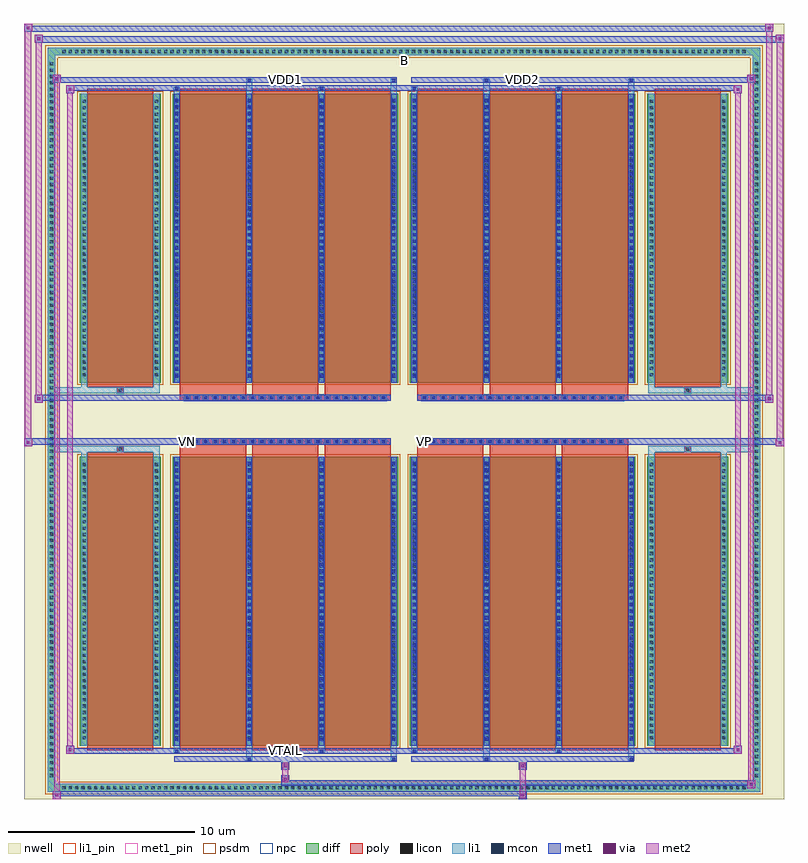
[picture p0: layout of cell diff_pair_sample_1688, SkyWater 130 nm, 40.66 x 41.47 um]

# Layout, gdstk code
import gdstk
lib = gdstk.Library(unit=1e-6, precision=5e-09)
def R(c, l, rs):  # rectangles x0, y0, x1, y1
    for r in rs: c.add(gdstk.rectangle(r[:2], r[2:], *l))
def A(c, l, x, y, w, h, nx, ny, dx, dy):  # array of equal rectangles
    R(c, l, [(x+i*dx, y+j*dy, x+i*dx+w, y+j*dy+h) for i in range(nx) for j in range(ny)])
def P(c, l, *ps):  # polygons
    for p in ps: c.add(gdstk.Polygon(p, *l))
nwell = (64, 20)
diff = (65, 20)
poly = (66, 20)
licon = (66, 44)
li1_pin = (67, 16)
li1 = (67, 20)
mcon = (67, 44)
met1_pin = (68, 16)
met1 = (68, 20)
via = (68, 44)
met2 = (69, 20)
psdm = (94, 20)
npc = (95, 20)

diff_pair_sample_1688 = lib.new_cell('diff_pair_sample_1688')
R(diff_pair_sample_1688, nwell, [(-20.33,-20.3,20.33,21.17), (-17.65,-18.49,-0.01,-0.805), (0.01,-18.49,17.65,-0.805), (-17.65,0.805,-0.01,18.49), (0.01,0.805,17.65,18.49)])
A(diff_pair_sample_1688, diff, -18.395, -19.9, 0.41, 0.41, 108, 2, 0.34, 39.39)
A(diff_pair_sample_1688, diff, -19.06, -19.245, 0.41, 0.41, 1, 113, 0, 0.34)
A(diff_pair_sample_1688, diff, 18.65, -19.245, 0.41, 0.41, 1, 113, 0, 0.34)
R(diff_pair_sample_1688, diff, [(-18.395,-19.9,18.395,-19.49), (-19.06,-19.245,-18.65,19.245), (18.65,-19.245,19.06,19.245), (-17.34,-17.445,-13.02,-1.985), (-12.38,-17.445,-0.32,-1.985), (0.32,-17.445,12.38,-1.985), (13.02,-17.445,17.34,-1.985), (-17.34,1.985,-13.02,17.445), (-12.38,1.985,-0.32,17.445), (0.32,1.985,12.38,17.445), (13.02,1.985,17.34,17.445), (-18.395,19.49,18.395,19.9)])
P(diff_pair_sample_1688, diff, [(19.06,19.9),(-19.06,19.9),(-19.06,-19.49),(-18.65,-19.49),(-18.65,19.49),(18.65,19.49),(18.65,-19.49),(-18.65,-19.49),(-19.06,-19.49),(-19.06,-19.9),(19.06,-19.9)])
A(diff_pair_sample_1688, poly, -11.99, -17.695, 3.54, 15.96, 3, 2, 3.87, 19.43)
A(diff_pair_sample_1688, poly, 0.71, -17.695, 3.54, 15.96, 3, 2, 3.87, 19.43)
A(diff_pair_sample_1688, poly, -11.99, -1.735, 3.54, 0.4, 3, 2, 3.87, 3.07)
A(diff_pair_sample_1688, poly, 0.71, -1.735, 3.54, 0.4, 3, 2, 3.87, 3.07)
A(diff_pair_sample_1688, poly, -11.765, -1.335, 0.33, 0.33, 22, 2, 0.5, 2.34)
A(diff_pair_sample_1688, poly, 0.935, -1.335, 0.33, 0.33, 22, 2, 0.5, 2.34)
R(diff_pair_sample_1688, poly, [(-16.95,-17.695,-13.41,-1.735), (13.41,-17.695,16.95,-1.735), (-15.345,-1.735,-15.015,-1.405), (-15.345,-1.735,-15.015,-1.405), (15.015,-1.735,15.345,-1.405), (15.015,-1.735,15.345,-1.405), (-11.99,-1.335,-0.71,-1.005), (0.71,-1.335,11.99,-1.005), (-11.99,1.005,-0.71,1.335), (0.71,1.005,11.99,1.335), (-15.345,1.405,-15.015,1.735), (-15.345,1.405,-15.015,1.735), (15.015,1.405,15.345,1.735), (15.015,1.405,15.345,1.735), (-16.95,1.735,-13.41,17.695), (13.41,1.735,16.95,17.695)])
A(diff_pair_sample_1688, licon, -18.275, -19.78, 0.17, 0.17, 108, 2, 0.34, 39.39)
A(diff_pair_sample_1688, licon, -18.94, -19.125, 0.17, 0.17, 1, 113, 0, 0.34)
A(diff_pair_sample_1688, licon, 18.77, -19.125, 0.17, 0.17, 1, 113, 0, 0.34)
A(diff_pair_sample_1688, licon, -17.2, -17.11, 0.17, 0.17, 1, 44, 0, 0.34)
A(diff_pair_sample_1688, licon, -13.33, -17.11, 0.17, 0.17, 1, 44, 0, 0.34)
A(diff_pair_sample_1688, licon, -12.24, -17.11, 0.17, 0.17, 4, 44, 3.87, 0.34)
A(diff_pair_sample_1688, licon, 0.46, -17.11, 0.17, 0.17, 4, 44, 3.87, 0.34)
A(diff_pair_sample_1688, licon, 13.16, -17.11, 0.17, 0.17, 1, 44, 0, 0.34)
A(diff_pair_sample_1688, licon, 17.03, -17.11, 0.17, 0.17, 1, 44, 0, 0.34)
A(diff_pair_sample_1688, licon, -11.685, -1.255, 0.17, 0.17, 22, 2, 0.5, 2.34)
A(diff_pair_sample_1688, licon, 1.015, -1.255, 0.17, 0.17, 22, 2, 0.5, 2.34)
A(diff_pair_sample_1688, licon, -17.2, 2.32, 0.17, 0.17, 1, 44, 0, 0.34)
A(diff_pair_sample_1688, licon, -13.33, 2.32, 0.17, 0.17, 1, 44, 0, 0.34)
A(diff_pair_sample_1688, licon, -12.24, 2.32, 0.17, 0.17, 4, 44, 3.87, 0.34)
A(diff_pair_sample_1688, licon, 0.46, 2.32, 0.17, 0.17, 4, 44, 3.87, 0.34)
A(diff_pair_sample_1688, licon, 13.16, 2.32, 0.17, 0.17, 1, 44, 0, 0.34)
A(diff_pair_sample_1688, licon, 17.03, 2.32, 0.17, 0.17, 1, 44, 0, 0.34)
R(diff_pair_sample_1688, licon, [(-15.265,-1.655,-15.095,-1.485), (15.095,-1.655,15.265,-1.485), (-15.265,1.485,-15.095,1.655), (15.095,1.485,15.265,1.655)])
R(diff_pair_sample_1688, li1_pin, [(-0.25,18.99,0.25,19.49)])
A(diff_pair_sample_1688, li1, -18.355, -19.86, 0.33, 0.33, 108, 2, 0.34, 39.39)
A(diff_pair_sample_1688, li1, -19.02, -19.205, 0.33, 0.33, 1, 113, 0, 0.34)
A(diff_pair_sample_1688, li1, 18.69, -19.205, 0.33, 0.33, 1, 113, 0, 0.34)
A(diff_pair_sample_1688, li1, -12.32, -17.445, 0.33, 15.46, 4, 2, 3.87, 19.43)
A(diff_pair_sample_1688, li1, 0.38, -17.445, 0.33, 15.46, 4, 2, 3.87, 19.43)
A(diff_pair_sample_1688, li1, -17.28, -17.19, 0.33, 0.33, 1, 44, 0, 0.34)
A(diff_pair_sample_1688, li1, -13.41, -17.19, 0.33, 0.33, 1, 44, 0, 0.34)
A(diff_pair_sample_1688, li1, -12.32, -17.19, 0.33, 0.33, 4, 44, 3.87, 0.34)
A(diff_pair_sample_1688, li1, 0.38, -17.19, 0.33, 0.33, 4, 44, 3.87, 0.34)
A(diff_pair_sample_1688, li1, 13.08, -17.19, 0.33, 0.33, 1, 44, 0, 0.34)
A(diff_pair_sample_1688, li1, 16.95, -17.19, 0.33, 0.33, 1, 44, 0, 0.34)
A(diff_pair_sample_1688, li1, -12.24, -17.18, 0.17, 0.17, 4, 42, 3.87, 0.36)
A(diff_pair_sample_1688, li1, -12.24, -17.18, 0.17, 14.93, 4, 2, 3.87, 19.43)
A(diff_pair_sample_1688, li1, 0.46, -17.18, 0.17, 0.17, 4, 42, 3.87, 0.36)
A(diff_pair_sample_1688, li1, 0.46, -17.18, 0.17, 14.93, 4, 2, 3.87, 19.43)
A(diff_pair_sample_1688, li1, -11.765, -1.335, 0.33, 0.33, 22, 2, 0.5, 2.34)
A(diff_pair_sample_1688, li1, 0.935, -1.335, 0.33, 0.33, 22, 2, 0.5, 2.34)
A(diff_pair_sample_1688, li1, -17.28, 2.24, 0.33, 0.33, 1, 44, 0, 0.34)
A(diff_pair_sample_1688, li1, -13.41, 2.24, 0.33, 0.33, 1, 44, 0, 0.34)
A(diff_pair_sample_1688, li1, -12.32, 2.24, 0.33, 0.33, 4, 44, 3.87, 0.34)
A(diff_pair_sample_1688, li1, 0.38, 2.24, 0.33, 0.33, 4, 44, 3.87, 0.34)
A(diff_pair_sample_1688, li1, 13.08, 2.24, 0.33, 0.33, 1, 44, 0, 0.34)
A(diff_pair_sample_1688, li1, 16.95, 2.24, 0.33, 0.33, 1, 44, 0, 0.34)
A(diff_pair_sample_1688, li1, -12.24, 2.25, 0.17, 0.17, 4, 42, 3.87, 0.36)
A(diff_pair_sample_1688, li1, 0.46, 2.25, 0.17, 0.17, 4, 42, 3.87, 0.36)
R(diff_pair_sample_1688, li1, [(-19.06,-19.9,-18.65,-19.49), (-19.06,-19.9,-18.65,-19.49), (-18.65,-19.9,18.65,-19.49), (18.65,-19.9,19.06,-19.49), (18.65,-19.9,19.06,-19.49), (-19.06,-19.49,-18.65,19.49), (18.65,-19.49,19.06,19.49), (-8.45,-18.25,-8.12,-17.445), (-8.37,-18.25,-8.2,-18.08), (-0.71,-18.25,-0.38,-17.445), (-0.63,-18.25,-0.46,-18.08), (4.25,-18.25,4.58,-17.445), (4.33,-18.25,4.5,-18.08), (11.99,-18.25,12.32,-17.445), (12.07,-18.25,12.24,-18.08), (-12.32,-17.82,-11.99,-17.445), (-12.24,-17.82,-12.07,-17.65), (-4.58,-17.82,-4.25,-17.445), (-4.5,-17.82,-4.33,-17.65), (0.38,-17.82,0.71,-17.445), (0.46,-17.82,0.63,-17.65), (8.12,-17.82,8.45,-17.445), (8.2,-17.82,8.37,-17.65), (-17.28,-17.445,-16.95,-1.985), (-13.41,-17.445,-13.08,-1.985), (13.08,-17.445,13.41,-1.985), (16.95,-17.445,17.28,-1.985), (-17.28,-1.985,-16.95,-1.405), (-13.41,-1.985,-13.08,-1.405), (13.08,-1.985,13.41,-1.405), (16.95,-1.985,17.28,-1.405), (-19.06,-1.735,-15.345,-1.405), (-17.28,-1.735,-15.345,-1.405), (-15.345,-1.735,-15.015,-1.405), (-15.015,-1.735,-13.08,-1.405), (13.08,-1.735,15.015,-1.405), (15.015,-1.735,15.345,-1.405), (15.015,-1.735,19.06,-1.405), (15.345,-1.735,17.28,-1.405), (-19.06,1.405,-15.345,1.735), (-17.28,1.405,-15.345,1.735), (-17.28,1.405,-16.95,1.985), (-15.345,1.405,-15.015,1.735), (-15.015,1.405,-13.08,1.735), (-13.41,1.405,-13.08,1.985), (13.08,1.405,15.015,1.735), (13.08,1.405,13.41,1.985), (15.015,1.405,15.345,1.735), (15.015,1.405,19.06,1.735), (15.345,1.405,17.28,1.735), (16.95,1.405,17.28,1.985), (-17.28,1.985,-16.95,17.445), (-13.41,1.985,-13.08,17.445), (13.08,1.985,13.41,17.445), (16.95,1.985,17.28,17.445), (-12.32,17.445,-11.99,17.82), (-8.45,17.445,-8.12,18.25), (-4.58,17.445,-4.25,17.82), (-0.71,17.445,-0.38,18.25), (0.38,17.445,0.71,17.82), (4.25,17.445,4.58,18.25), (8.12,17.445,8.45,17.82), (11.99,17.445,12.32,18.25), (-12.24,17.65,-12.07,17.82), (-4.5,17.65,-4.33,17.82), (0.46,17.65,0.63,17.82), (8.2,17.65,8.37,17.82), (-8.37,18.08,-8.2,18.25), (-0.63,18.08,-0.46,18.25), (4.33,18.08,4.5,18.25), (12.07,18.08,12.24,18.25), (-19.06,19.49,-18.65,19.9), (-19.06,19.49,-18.65,19.9), (-18.65,19.49,18.65,19.9), (18.65,19.49,19.06,19.9), (18.65,19.49,19.06,19.9)])
A(diff_pair_sample_1688, mcon, -12.24, -17.18, 0.17, 0.17, 4, 42, 3.87, 0.36)
A(diff_pair_sample_1688, mcon, 0.46, -17.18, 0.17, 0.17, 4, 42, 3.87, 0.36)
A(diff_pair_sample_1688, mcon, -11.685, -1.255, 0.17, 0.17, 22, 2, 0.5, 2.34)
A(diff_pair_sample_1688, mcon, 1.015, -1.255, 0.17, 0.17, 22, 2, 0.5, 2.34)
A(diff_pair_sample_1688, mcon, -12.24, 2.25, 0.17, 0.17, 4, 42, 3.87, 0.36)
A(diff_pair_sample_1688, mcon, 0.46, 2.25, 0.17, 0.17, 4, 42, 3.87, 0.36)
R(diff_pair_sample_1688, mcon, [(-8.37,-18.25,-8.2,-18.08), (-0.63,-18.25,-0.46,-18.08), (4.33,-18.25,4.5,-18.08), (12.07,-18.25,12.24,-18.08), (-12.24,-17.82,-12.07,-17.65), (-4.5,-17.82,-4.33,-17.65), (0.46,-17.82,0.63,-17.65), (8.2,-17.82,8.37,-17.65), (-12.24,17.65,-12.07,17.82), (-4.5,17.65,-4.33,17.82), (0.46,17.65,0.63,17.82), (8.2,17.65,8.37,17.82), (-8.37,18.08,-8.2,18.25), (-0.63,18.08,-0.46,18.25), (4.33,18.08,4.5,18.25), (12.07,18.08,12.24,18.25)])
R(diff_pair_sample_1688, met1_pin, [(-6.485,-17.86,-6.215,-17.59), (-11.735,-1.295,-11.465,-1.025), (0.965,-1.295,1.235,-1.025), (-6.485,18.04,-6.215,18.31), (6.215,18.04,6.485,18.31)])
A(diff_pair_sample_1688, met1, -12.3, -17.445, 0.29, 15.46, 4, 2, 3.87, 19.43)
A(diff_pair_sample_1688, met1, 0.4, -17.445, 0.29, 15.46, 4, 2, 3.87, 19.43)
A(diff_pair_sample_1688, met1, -12.3, -17.24, 0.29, 0.29, 4, 42, 3.87, 0.36)
A(diff_pair_sample_1688, met1, 0.4, -17.24, 0.29, 0.29, 4, 42, 3.87, 0.36)
A(diff_pair_sample_1688, met1, -11.745, -1.315, 0.29, 0.29, 22, 2, 0.5, 2.34)
A(diff_pair_sample_1688, met1, 0.955, -1.315, 0.29, 0.29, 22, 2, 0.5, 2.34)
A(diff_pair_sample_1688, met1, -12.3, 2.19, 0.29, 0.29, 4, 42, 3.87, 0.36)
A(diff_pair_sample_1688, met1, 0.4, 2.19, 0.29, 0.29, 4, 42, 3.87, 0.36)
R(diff_pair_sample_1688, met1, [(-18.79,-20.3,-18.36,-19.87), (6.135,-20.3,6.565,-19.87), (-18.79,-20.16,6.565,-19.87), (18.36,-19.73,18.79,-19.3), (-6.565,-19.59,18.79,-19.3), (-6.565,-19.45,-6.135,-19.02), (-6.565,-18.74,-6.135,-18.31), (6.135,-18.74,6.565,-18.31), (-12.3,-18.31,-0.4,-18.02), (-8.43,-18.31,-8.14,-18.02), (-0.69,-18.31,-0.4,-18.02), (0.4,-18.31,12.3,-18.02), (4.27,-18.31,4.56,-18.02), (12.01,-18.31,12.3,-18.02), (-18.08,-17.88,-17.65,-17.45), (-18.08,-17.88,-12.3,-17.59), (-12.3,-17.88,-12.01,-17.59), (-12.3,-17.88,-0.4,-17.59), (-4.56,-17.88,-4.27,-17.59), (-0.4,-17.88,0.4,-17.59), (0.4,-17.88,0.69,-17.59), (0.4,-17.88,12.3,-17.59), (8.14,-17.88,8.43,-17.59), (12.3,-17.88,18.08,-17.59), (17.65,-17.88,18.08,-17.45), (-20.33,-1.435,-19.9,-1.005), (19.9,-1.435,20.33,-1.005), (-20.33,-1.335,-0.71,-1.005), (-11.99,-1.335,-0.71,-1.005), (0.71,-1.335,11.99,-1.005), (0.71,-1.335,20.33,-1.005), (-19.76,0.905,-19.33,1.335), (19.33,0.905,19.76,1.335), (-19.76,1.005,-11.99,1.335), (-11.99,1.005,-0.71,1.335), (0.71,1.005,11.99,1.335), (11.99,1.005,19.76,1.335), (-18.08,17.45,-17.65,17.88), (17.65,17.45,18.08,17.88), (-18.08,17.59,-12.3,17.88), (-12.3,17.59,-12.01,17.88), (-12.3,17.59,-0.4,17.88), (-4.56,17.59,-4.27,17.88), (-0.4,17.59,0.4,17.88), (0.4,17.59,0.69,17.88), (0.4,17.59,12.3,17.88), (8.14,17.59,8.43,17.88), (12.3,17.59,18.08,17.88), (-18.79,18.02,-18.36,18.45), (-18.79,18.02,-12.3,18.31), (-12.3,18.02,-0.4,18.31), (-8.43,18.02,-8.14,18.31), (-0.69,18.02,-0.4,18.31), (0.4,18.02,12.3,18.31), (4.27,18.02,4.56,18.31), (12.01,18.02,12.3,18.31), (12.3,18.02,18.79,18.31), (18.36,18.02,18.79,18.45), (-19.76,20.17,-19.33,20.6), (-19.76,20.17,-17.65,20.5), (-17.65,20.17,17.65,20.5), (17.65,20.17,20.33,20.5), (19.9,20.17,20.33,20.6), (-20.33,20.74,-19.9,21.17), (-20.33,20.74,-17.65,21.07), (-17.65,20.74,17.65,21.07), (17.65,20.74,19.76,21.07), (19.33,20.74,19.76,21.17)])
R(diff_pair_sample_1688, via, [(-18.65,-20.16,-18.5,-20.01), (6.275,-20.16,6.425,-20.01), (18.5,-19.59,18.65,-19.44), (-6.425,-19.31,-6.275,-19.16), (-6.425,-18.6,-6.275,-18.45), (6.275,-18.6,6.425,-18.45), (-17.94,-17.74,-17.79,-17.59), (17.79,-17.74,17.94,-17.59), (-20.19,-1.295,-20.04,-1.145), (20.04,-1.295,20.19,-1.145), (-19.62,1.045,-19.47,1.195), (19.47,1.045,19.62,1.195), (-17.94,17.59,-17.79,17.74), (17.79,17.59,17.94,17.74), (-18.65,18.16,-18.5,18.31), (18.5,18.16,18.65,18.31), (-19.62,20.31,-19.47,20.46), (20.04,20.31,20.19,20.46), (-20.19,20.88,-20.04,21.03), (19.47,20.88,19.62,21.03)])
R(diff_pair_sample_1688, met2, [(-18.79,-20.3,-18.36,-19.87), (-18.72,-20.3,-18.43,18.45), (-18.43,-20.3,-18.36,-19.87), (-18.74,-20.25,-18.41,-19.92), (6.185,-20.25,6.515,-19.92), (6.185,-19.92,6.515,-18.69), (18.36,-19.73,18.79,-19.3), (18.43,-19.73,18.72,18.45), (18.72,-19.73,18.79,-19.3), (18.41,-19.68,18.74,-19.35), (-6.515,-19.4,-6.185,-19.07), (-6.515,-19.07,-6.185,-18.69), (-6.515,-18.69,-6.185,-18.36), (6.185,-18.69,6.515,-18.36), (-18.08,-17.88,-17.65,-17.45), (-18.01,-17.88,-17.72,17.88), (-17.72,-17.88,-17.65,-17.45), (17.65,-17.88,18.08,-17.45), (17.72,-17.88,18.01,17.88), (18.01,-17.88,18.08,-17.45), (-18.03,-17.83,-17.7,-17.5), (17.7,-17.83,18.03,-17.5), (-20.33,-1.435,-19.9,-1.005), (-20.28,-1.435,-19.95,21.17), (-19.95,-1.435,-19.9,-1.005), (19.9,-1.435,20.33,-1.005), (19.95,-1.435,20.28,20.6), (20.28,-1.435,20.33,-1.005), (-20.28,-1.385,-19.95,-1.055), (19.95,-1.385,20.28,-1.055), (-19.76,0.905,-19.33,1.335), (-19.71,0.905,-19.38,20.6), (-19.38,0.905,-19.33,1.335), (19.33,0.905,19.76,1.335), (19.38,0.905,19.71,21.17), (19.71,0.905,19.76,1.335), (-19.71,0.955,-19.38,1.285), (19.38,0.955,19.71,1.285), (-18.08,17.45,-17.65,17.88), (-17.72,17.45,-17.65,17.88), (17.65,17.45,18.08,17.88), (18.01,17.45,18.08,17.88), (-18.03,17.5,-17.7,17.83), (17.7,17.5,18.03,17.83), (-18.79,18.02,-18.36,18.45), (-18.43,18.02,-18.36,18.45), (18.36,18.02,18.79,18.45), (18.72,18.02,18.79,18.45), (-18.74,18.07,-18.41,18.4), (18.41,18.07,18.74,18.4), (-19.76,20.17,-19.33,20.6), (-19.38,20.17,-19.33,20.6), (19.9,20.17,20.33,20.6), (20.28,20.17,20.33,20.6), (-19.71,20.22,-19.38,20.55), (19.95,20.22,20.28,20.55), (-20.33,20.74,-19.9,21.17), (-19.95,20.74,-19.9,21.17), (19.33,20.74,19.76,21.17), (19.71,20.74,19.76,21.17), (-20.28,20.79,-19.95,21.12), (19.38,20.79,19.71,21.12)])
R(diff_pair_sample_1688, psdm, [(-17.47,-17.575,-12.89,-1.855), (-12.51,-17.575,-0.19,-1.855), (0.19,-17.575,12.51,-1.855), (12.89,-17.575,17.47,-1.855), (-17.47,1.855,-12.89,17.575), (-12.51,1.855,-0.19,17.575), (0.19,1.855,12.51,17.575), (12.89,1.855,17.47,17.575)])
P(diff_pair_sample_1688, psdm, [(19.19,20.03),(-19.19,20.03),(-19.19,-19.36),(-18.52,-19.36),(-18.52,19.36),(18.52,19.36),(18.52,-19.36),(-18.52,-19.36),(-19.19,-19.36),(-19.19,-20.03),(19.19,-20.03)])
A(diff_pair_sample_1688, npc, -11.785, -1.355, 0.37, 0.37, 22, 2, 0.5, 2.34)
A(diff_pair_sample_1688, npc, 0.915, -1.355, 0.37, 0.37, 22, 2, 0.5, 2.34)
R(diff_pair_sample_1688, npc, [(-15.365,-1.755,-14.995,-1.385), (14.995,-1.755,15.365,-1.385), (-11.785,-1.355,-10.915,-0.985), (-11.785,-1.355,-10.915,-0.985), (-11.285,-1.355,-10.415,-0.985), (-11.285,-1.355,-10.415,-0.985), (-10.785,-1.355,-9.915,-0.985), (-10.785,-1.355,-9.915,-0.985), (-10.285,-1.355,-9.415,-0.985), (-10.285,-1.355,-9.415,-0.985), (-9.785,-1.355,-8.915,-0.985), (-9.785,-1.355,-8.915,-0.985), (-9.285,-1.355,-8.415,-0.985), (-9.285,-1.355,-8.415,-0.985), (-8.785,-1.355,-7.915,-0.985), (-8.785,-1.355,-7.915,-0.985), (-8.285,-1.355,-7.415,-0.985), (-8.285,-1.355,-7.415,-0.985), (-7.785,-1.355,-6.915,-0.985), (-7.785,-1.355,-6.915,-0.985), (-7.285,-1.355,-6.415,-0.985), (-7.285,-1.355,-6.415,-0.985), (-6.785,-1.355,-5.915,-0.985), (-6.785,-1.355,-5.915,-0.985), (-6.285,-1.355,-5.415,-0.985), (-6.285,-1.355,-5.415,-0.985), (-5.785,-1.355,-4.915,-0.985), (-5.785,-1.355,-4.915,-0.985), (-5.285,-1.355,-4.415,-0.985), (-5.285,-1.355,-4.415,-0.985), (-4.785,-1.355,-3.915,-0.985), (-4.785,-1.355,-3.915,-0.985), (-4.285,-1.355,-3.415,-0.985), (-4.285,-1.355,-3.415,-0.985), (-3.785,-1.355,-2.915,-0.985), (-3.785,-1.355,-2.915,-0.985), (-3.285,-1.355,-2.415,-0.985), (-3.285,-1.355,-2.415,-0.985), (-2.785,-1.355,-1.915,-0.985), (-2.785,-1.355,-1.915,-0.985), (-2.285,-1.355,-1.415,-0.985), (-2.285,-1.355,-1.415,-0.985), (-1.785,-1.355,-0.915,-0.985), (-1.785,-1.355,-0.915,-0.985), (0.915,-1.355,1.785,-0.985), (0.915,-1.355,1.785,-0.985), (1.415,-1.355,2.285,-0.985), (1.415,-1.355,2.285,-0.985), (1.915,-1.355,2.785,-0.985), (1.915,-1.355,2.785,-0.985), (2.415,-1.355,3.285,-0.985), (2.415,-1.355,3.285,-0.985), (2.915,-1.355,3.785,-0.985), (2.915,-1.355,3.785,-0.985), (3.415,-1.355,4.285,-0.985), (3.415,-1.355,4.285,-0.985), (3.915,-1.355,4.785,-0.985), (3.915,-1.355,4.785,-0.985), (4.415,-1.355,5.285,-0.985), (4.415,-1.355,5.285,-0.985), (4.915,-1.355,5.785,-0.985), (4.915,-1.355,5.785,-0.985), (5.415,-1.355,6.285,-0.985), (5.415,-1.355,6.285,-0.985), (5.915,-1.355,6.785,-0.985), (5.915,-1.355,6.785,-0.985), (6.415,-1.355,7.285,-0.985), (6.415,-1.355,7.285,-0.985), (6.915,-1.355,7.785,-0.985), (6.915,-1.355,7.785,-0.985), (7.415,-1.355,8.285,-0.985), (7.415,-1.355,8.285,-0.985), (7.915,-1.355,8.785,-0.985), (7.915,-1.355,8.785,-0.985), (8.415,-1.355,9.285,-0.985), (8.415,-1.355,9.285,-0.985), (8.915,-1.355,9.785,-0.985), (8.915,-1.355,9.785,-0.985), (9.415,-1.355,10.285,-0.985), (9.415,-1.355,10.285,-0.985), (9.915,-1.355,10.785,-0.985), (9.915,-1.355,10.785,-0.985), (10.415,-1.355,11.285,-0.985), (10.415,-1.355,11.285,-0.985), (10.915,-1.355,11.785,-0.985), (10.915,-1.355,11.785,-0.985), (-11.785,0.985,-10.915,1.355), (-11.785,0.985,-10.915,1.355), (-11.285,0.985,-10.415,1.355), (-11.285,0.985,-10.415,1.355), (-10.785,0.985,-9.915,1.355), (-10.785,0.985,-9.915,1.355), (-10.285,0.985,-9.415,1.355), (-10.285,0.985,-9.415,1.355), (-9.785,0.985,-8.915,1.355), (-9.785,0.985,-8.915,1.355), (-9.285,0.985,-8.415,1.355), (-9.285,0.985,-8.415,1.355), (-8.785,0.985,-7.915,1.355), (-8.785,0.985,-7.915,1.355), (-8.285,0.985,-7.415,1.355), (-8.285,0.985,-7.415,1.355), (-7.785,0.985,-6.915,1.355), (-7.785,0.985,-6.915,1.355), (-7.285,0.985,-6.415,1.355), (-7.285,0.985,-6.415,1.355), (-6.785,0.985,-5.915,1.355), (-6.785,0.985,-5.915,1.355), (-6.285,0.985,-5.415,1.355), (-6.285,0.985,-5.415,1.355), (-5.785,0.985,-4.915,1.355), (-5.785,0.985,-4.915,1.355), (-5.285,0.985,-4.415,1.355), (-5.285,0.985,-4.415,1.355), (-4.785,0.985,-3.915,1.355), (-4.785,0.985,-3.915,1.355), (-4.285,0.985,-3.415,1.355), (-4.285,0.985,-3.415,1.355), (-3.785,0.985,-2.915,1.355), (-3.785,0.985,-2.915,1.355), (-3.285,0.985,-2.415,1.355), (-3.285,0.985,-2.415,1.355), (-2.785,0.985,-1.915,1.355), (-2.785,0.985,-1.915,1.355), (-2.285,0.985,-1.415,1.355), (-2.285,0.985,-1.415,1.355), (-1.785,0.985,-0.915,1.355), (-1.785,0.985,-0.915,1.355), (0.915,0.985,1.785,1.355), (0.915,0.985,1.785,1.355), (1.415,0.985,2.285,1.355), (1.415,0.985,2.285,1.355), (1.915,0.985,2.785,1.355), (1.915,0.985,2.785,1.355), (2.415,0.985,3.285,1.355), (2.415,0.985,3.285,1.355), (2.915,0.985,3.785,1.355), (2.915,0.985,3.785,1.355), (3.415,0.985,4.285,1.355), (3.415,0.985,4.285,1.355), (3.915,0.985,4.785,1.355), (3.915,0.985,4.785,1.355), (4.415,0.985,5.285,1.355), (4.415,0.985,5.285,1.355), (4.915,0.985,5.785,1.355), (4.915,0.985,5.785,1.355), (5.415,0.985,6.285,1.355), (5.415,0.985,6.285,1.355), (5.915,0.985,6.785,1.355), (5.915,0.985,6.785,1.355), (6.415,0.985,7.285,1.355), (6.415,0.985,7.285,1.355), (6.915,0.985,7.785,1.355), (6.915,0.985,7.785,1.355), (7.415,0.985,8.285,1.355), (7.415,0.985,8.285,1.355), (7.915,0.985,8.785,1.355), (7.915,0.985,8.785,1.355), (8.415,0.985,9.285,1.355), (8.415,0.985,9.285,1.355), (8.915,0.985,9.785,1.355), (8.915,0.985,9.785,1.355), (9.415,0.985,10.285,1.355), (9.415,0.985,10.285,1.355), (9.915,0.985,10.785,1.355), (9.915,0.985,10.785,1.355), (10.415,0.985,11.285,1.355), (10.415,0.985,11.285,1.355), (10.915,0.985,11.785,1.355), (10.915,0.985,11.785,1.355), (-15.365,1.385,-14.995,1.755), (14.995,1.385,15.365,1.755)])
diff_pair_sample_1688.add(gdstk.Label('VTAIL', (-6.35,-17.725), layer=68, texttype=5))
diff_pair_sample_1688.add(gdstk.Label('VN', (-11.6,-1.16), layer=68, texttype=5))
diff_pair_sample_1688.add(gdstk.Label('VP', (1.1,-1.16), layer=68, texttype=5))
diff_pair_sample_1688.add(gdstk.Label('B', (0,19.24), layer=67, texttype=5))
diff_pair_sample_1688.add(gdstk.Label('VDD2', (6.35,18.175), layer=68, texttype=5))
diff_pair_sample_1688.add(gdstk.Label('VDD1', (-6.35,18.175), layer=68, texttype=5))

lib.write_gds('diff_pair_sample_1688.gds')
